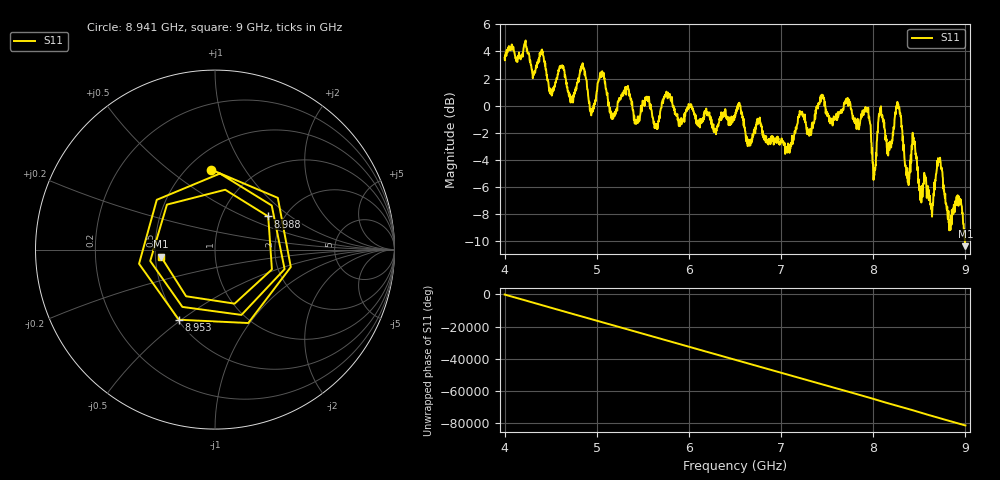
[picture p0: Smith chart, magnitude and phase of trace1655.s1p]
! Created with skrf 1.8.0 (http://scikit-rf.org).
# Hz S RI R 50.0
!freq ReS11 ImS11
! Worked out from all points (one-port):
!   1601 points, 4 GHz to 9 GHz, reference 50 ohm
!   lowest |S11| = -10.4 dB at 9 GHz (marker M1), VSWR 1.87, Z = 26.8 - j2.34 ohm
!   |S11| at or under -10 dB: 8.994828 GHz to end of sweep
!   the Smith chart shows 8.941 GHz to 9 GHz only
!   S11 on the Smith chart (normalised r, x): 8.941 GHz: 0.65, +0.72; 8.953 GHz: 0.51, -0.49; 8.988 GHz: 1.66, +0.70; 9 GHz: 0.54, -0.05
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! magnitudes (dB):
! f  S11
! 4 GHz  3.5
! 4.403 GHz  4.1
! 4.506 GHz  0.9
! 4.625 GHz  3.0
! 4.728 GHz  0.7
! 4.85 GHz  2.7
! 4.944 GHz  -0.4
! 5.05 GHz  2.1
! 5.25 GHz  0.5
! 5.875 GHz  -0.6
! 6.5 GHz  -0.7
! 7.125 GHz  -2.8
! 7.75 GHz  0.2
! 7.938 GHz  -0.4
! 8.009 GHz  -5.0
! 8.078 GHz  -0.1
! 8.172 GHz  -3.2
! 8.272 GHz  0.1
! 8.375 GHz  -5.7
! 8.441 GHz  -2.6
! 8.512 GHz  -6.5
! 8.634 GHz  -7.5
! 8.719 GHz  -4.0
! 8.825 GHz  -9.2
! 8.941 GHz  -7.0
! 8.953 GHz  -7.1
! 8.988 GHz  -9.1
! 9 GHz  -10.4
